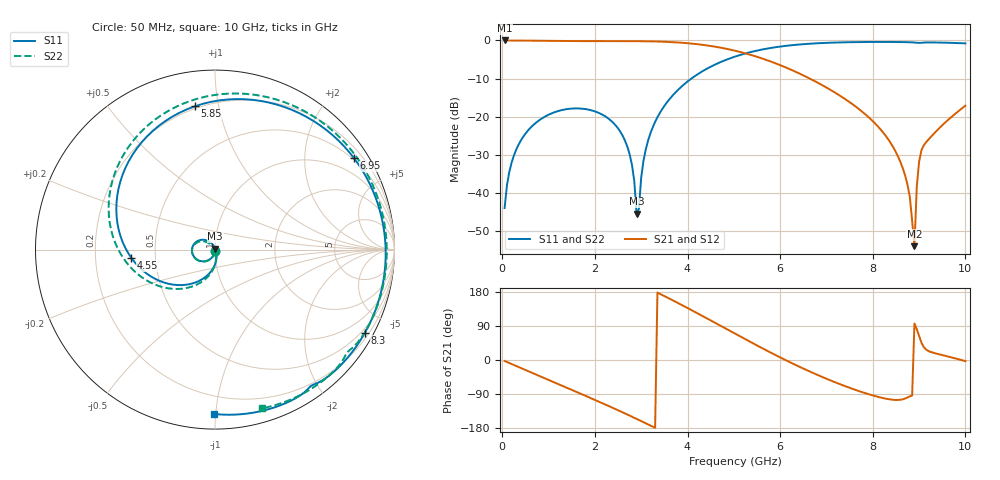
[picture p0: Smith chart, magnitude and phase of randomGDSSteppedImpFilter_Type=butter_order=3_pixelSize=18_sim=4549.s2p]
! freq	dB(S11)	phase(S11)	dB(S12)	phase(S12)
!  dB(S21)	phase(S21)	dB(S22)	phase(S22)
!S-par simulation data
#  GHz  S  DB  R 50
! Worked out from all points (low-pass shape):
!   200 points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, 50 MHz to 10 GHz, reference 50 ohm
!   highest |S21| = -0.01 dB at 50 MHz (marker M1); lowest = -53.9 dB at 8.9 GHz (marker M2)
!   |S21| within 3 dB of the highest: start of sweep to 5.13 GHz
!   lowest |S11| = -45.4 dB at 2.9 GHz (marker M3), VSWR 1.01, Z = 50.1 + j0.523 ohm
!   |S11| at or under -10 dB: start of sweep to 4.083 GHz
!   |S22| runs from -44.9 to -0.4 dB; largest |S21 - S12| = 0
!   S11 on the Smith chart (normalised r, x): 50 MHz: 1.00, -0.01; 4.55 GHz: 0.36, -0.04; 5.85 GHz: 0.19, +0.85; 6.95 GHz: 0.45, +3.28; 8.3 GHz: 0.36, -3.84; 10 GHz: 0.09, -0.99
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0.05  -43.94 -90.1  -0.01 -2.7  -0.01 -2.7  -43.94 -90.1
0.2  -32.08 -100.3  -0.02 -10.6  -0.02 -10.6  -32.09 -100.0
0.5  -24.44 -117.2  -0.05 -26.4  -0.05 -26.4  -24.44 -116.3
1.75  -17.92 175.3  -0.18 -92.0  -0.18 -92.0  -17.93 178.8
2.6  -25.01 126.2  -0.18 -138.2  -0.18 -138.2  -25.05 135.9
2.8  -32.61 110.5  -0.19 -149.6  -0.19 -149.6  -32.69 130.5
2.9  -45.45 77.8  -0.20 -155.4  -0.20 -155.4  -44.90 160.1
3.1  -28.47 -76.0  -0.22 -167.1  -0.22 -167.1  -28.34 -82.1
3.4  -19.06 -97.4  -0.31 174.9  -0.31 174.9  -19.01 -95.7
4.05  -10.30 -140.4  -0.78 133.9  -0.78 133.9  -10.28 -134.3
4.55  -6.59 -174.3  -1.55 101.1  -1.55 101.1  -6.57 -165.8
5.05  -4.14 151.4  -2.76 67.9  -2.76 67.9  -4.13 162.0
5.85  -1.87 98.0  -5.77 16.1  -5.77 16.1  -1.87 111.7
6.7  -0.81 46.9  -10.37 -33.7  -10.37 -33.7  -0.81 62.8
6.95  -0.66 33.3  -12.00 -46.9  -12.00 -46.9  -0.66 49.6
8.3  -0.40 -28.9  -25.35 -102.5  -25.35 -102.5  -0.37 -11.9
8.35  -0.40 -30.9  -26.22 -103.6  -26.22 -103.6  -0.37 -13.9
8.75  -0.46 -46.5  -37.81 -99.0  -37.81 -99.0  -0.42 -29.6
8.9  -0.55 -52.2  -53.94 96.3  -53.94 96.3  -0.51 -35.3
8.95  -0.62 -53.8  -38.36 81.5  -38.36 81.5  -0.58 -36.9
9.05  -0.60 -56.4  -28.80 46.0  -28.80 46.0  -0.56 -39.5
10  -0.77 -90.5  -17.11 -3.0  -17.11 -3.0  -0.70 -73.6
